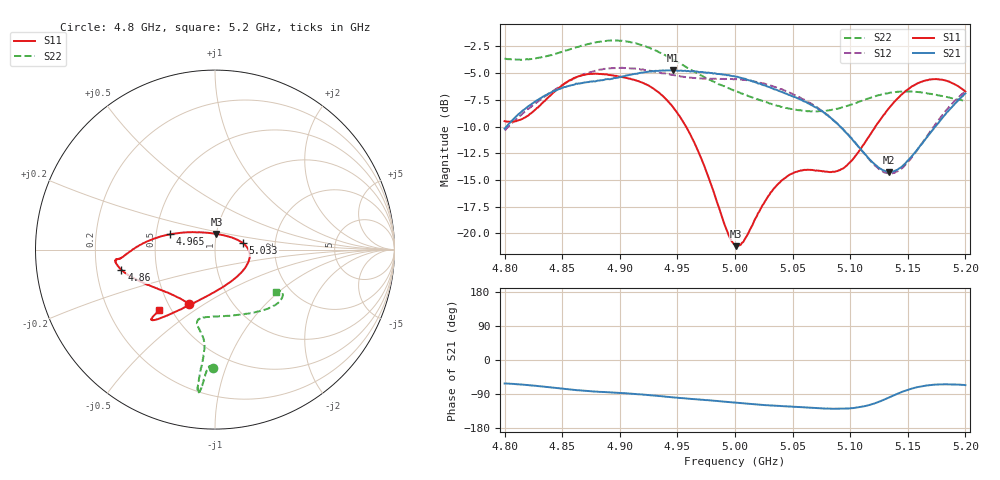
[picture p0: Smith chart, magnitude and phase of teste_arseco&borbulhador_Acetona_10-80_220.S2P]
! Network Analyzer HP8722D
! Hewlett-Packard
! Data name: Linha & Wilkinson
! Saver's name: Rodrigo Anjos
! Comments: Teste da utilização de aquisição
! continua pelo VNA HP8722D
! Time and date: 17/4/2025 16:11
!  Frequency  S11  S21  S12  S22
# HZ  S  MA R 50
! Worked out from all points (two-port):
!   401 points, 4.8 GHz to 5.2 GHz, reference 50 ohm
!   highest |S21| = -4.73 dB at 4.946 GHz (marker M1); lowest = -14.2 dB at 5.134 GHz (marker M2)
!   |S21| within 3 dB of the highest: 4.826 GHz to 5.062 GHz (236.6 MHz wide, 4.79 % of centre); 5.192148 GHz to end of sweep
!   lowest |S11| = -21.2 dB at 5.001 GHz (marker M3), VSWR 1.19, Z = 50 + j8.75 ohm
!   |S11| at or under -10 dB: 4.958 GHz to 5.122 GHz (164.4 MHz wide, 3.26 % of centre)
!   |S22| runs from -8.6 to -1.9 dB; largest |S21 - S12| = 0.87
!   S11 on the Smith chart (normalised r, x): 4.8 GHz: 0.63, -0.43; 4.86 GHz: 0.31, -0.10; 4.965 GHz: 0.59, +0.11; 5.033 GHz: 1.37, +0.10; 5.2 GHz: 0.43, -0.37
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4.8e9  0.3353 -115.9  0.3093 -62.0  0.3035 -176.1  0.6581 -91.1
4.819e9  0.3527 -136.1  0.3878 -66.0  0.3759 -175.5  0.6527 -92.7
4.86e9  0.5333 -167.7  0.4959 -78.7  0.5298 -178.9  0.7364 -95.0
4.867e9  0.5483 -170.4  0.505 -80.7  0.5502 179.9  0.7565 -95.4
4.9e9  0.5415 -174.5  0.5386 -86.9  0.5945 173.7  0.7978 -96.7
4.934e9  0.4563 179.6  0.5772 -95.2  0.569 170.4  0.7049 -97.0
4.946e9  0.3913 174.1  0.58 -98.6  0.5517 170.7  0.6534 -96.6
4.965e9  0.2641 161.2  0.5739 -103.4  0.5337 172.5  0.5702 -96.2
4.993e9  0.103 114.4  0.5501 -110.7  0.5283 174.7  0.4814 -98.6
5e9  0.08887 88.9  0.5423 -112.6  0.5277 174.8  0.4642 -99.9
5.001e9  0.08712 84.9  0.5413 -112.7  0.5273 174.7  0.4633 -100.3
5.009e9  0.0948 56.1  0.5288 -115.0  0.5222 174.5  0.4456 -101.8
5.033e9  0.1604 13.1  0.4763 -120.3  0.4877 173.4  0.4017 -103.3
5.049e9  0.19 -2.5  0.4398 -123.1  0.4524 172.9  0.382 -99.1
5.067e9  0.1982 -21.7  0.3972 -126.3  0.4026 172.6  0.3729 -89.0
5.096e9  0.2057 -72.2  0.2977 -128.2  0.2987 174.6  0.3929 -66.4
5.121e9  0.3102 -110.2  0.211 -114.7  0.209 -169.6  0.4375 -49.6
5.134e9  0.3873 -120.2  0.1941 -98.4  0.1904 -151.6  0.4546 -43.2
5.146e9  0.4536 -125.9  0.2082 -83.0  0.2039 -133.7  0.4613 -38.7
5.167e9  0.5211 -131.2  0.2831 -67.1  0.2869 -113.7  0.4526 -33.3
5.184e9  0.5171 -132.6  0.3692 -64.2  0.3801 -108.4  0.4349 -32.1
5.2e9  0.4607 -132.7  0.4519 -66.3  0.4629 -108.4  0.4167 -34.7
